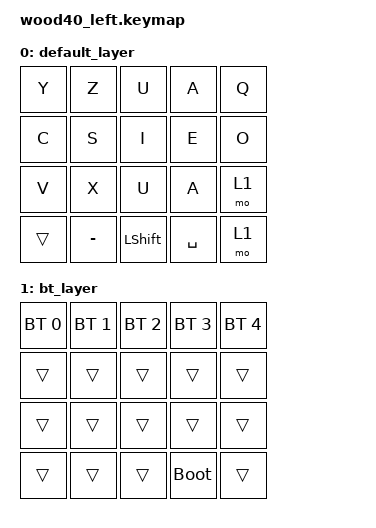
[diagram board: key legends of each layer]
#include <behaviors.dtsi>
#include <dt-bindings/zmk/keys.h>
#include <dt-bindings/zmk/bt.h>

/ {
    keymap {
        compatible = "zmk,keymap";

        default_layer {
            bindings = <
                &kp Y      &kp Z      &kp U      &kp A      &kp Q
                &kp C      &kp S      &kp I      &kp E      &kp O
                &kp V      &kp X      &kp U      &kp A      &mo 1
                &trans     &kp MINUS  &kp LSHFT  &kp SPC    &mo 1
            >;
        };

        bt_layer {
            bindings = <
                &bt BT_SEL 0 &bt BT_SEL 1 &bt BT_SEL 2 &bt BT_SEL 3 &bt BT_SEL 4
                &trans       &trans       &trans       &trans       &trans
                &trans       &trans       &trans       &trans       &trans
                &trans       &trans       &trans       &bootloader  &trans
            >;
        };
    };
};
